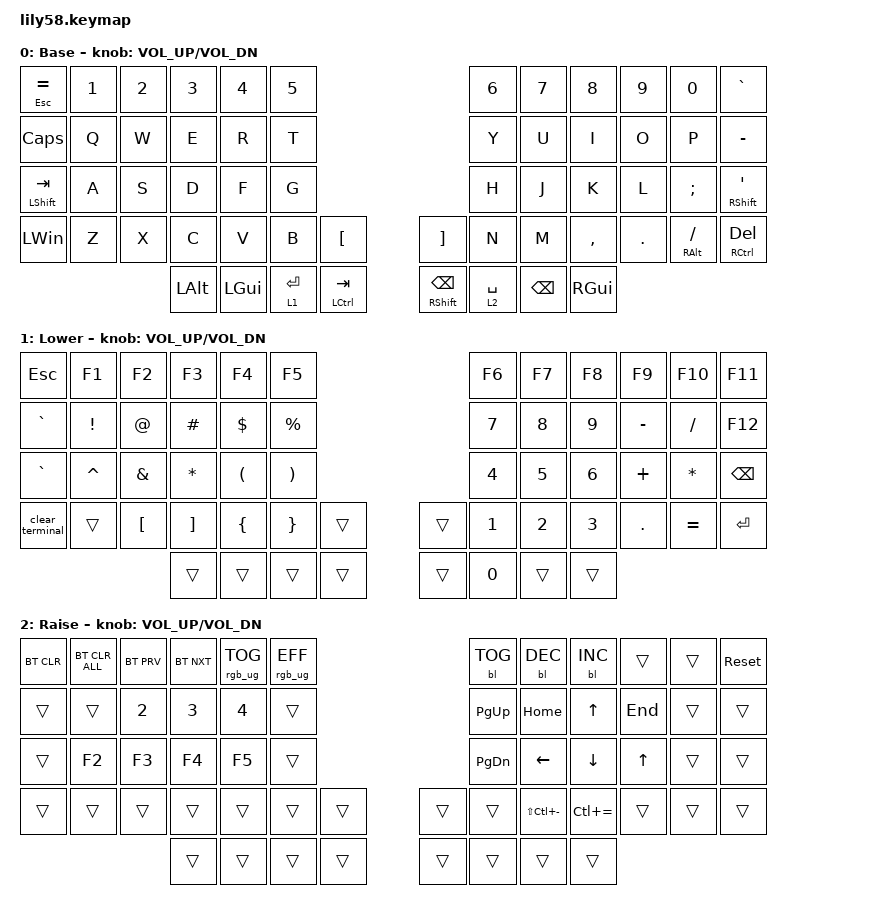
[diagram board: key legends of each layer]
/*
 * Copyright (c) 2020 The ZMK Contributors
 *
 * SPDX-License-Identifier: MIT
 */

#include <behaviors.dtsi>
#include <dt-bindings/zmk/backlight.h>
#include <dt-bindings/zmk/bt.h>
#include <dt-bindings/zmk/keys.h>
#include <dt-bindings/zmk/rgb.h>

/ {
    macros {
        clear_terminal: clear_terminal {
            compatible = "zmk,behavior-macro";
            #binding-cells = <0>;
            bindings = <&kp C &kp L &kp E &kp A &kp R &kp ENTER &kp ENTER>;
            label = "CLEAR_TERMINAL";
        };
    };

    keymap {
        compatible = "zmk,keymap";

        default_layer {
            // ------------------------------------------------------------------------------------------------------------
            // |  ESC  |  1  |  2  |  3   |  4   |  5   |                   |  6   |  7    |  8    |  9   |   0   |   `   |
            // |  TAB  |  Q  |  W  |  E   |  R   |  T   |                   |  Y   |  U    |  I    |  O   |   P   |   -   |
            // |  CTRL |  A  |  S  |  D   |  F   |  G   |                   |  H   |  J    |  K    |  L   |   ;   |   '   |
            // | SHIFT |  Z  |  X  |  C   |  V   |  B   |   "["  |  |  "]"  |  N   |  M    |  ,    |  .   |   /   | SHIFT |
            //                     | ALT  | GUI  | LOWER|  SPACE |  | ENTER | RAISE| BSPC  | GUI   |

            display-name = "Base";
            bindings = <
&mt ESC EQUAL       &kp N1  &kp N2  &kp N3    &kp N4    &kp N5                                                          &kp N6       &kp N7    &kp N8     &kp N9   &kp N0              &kp GRAVE
&kp CAPS            &kp Q   &kp W   &kp E     &kp R     &kp T                                                           &kp Y        &kp U     &kp I      &kp O    &kp P               &kp MINUS
&mt LEFT_SHIFT TAB  &kp A   &kp S   &kp D     &kp F     &kp G                                                           &kp H        &kp J     &kp K      &kp L    &kp SEMI            &mt RIGHT_SHIFT SQT
&kp LEFT_WIN        &kp Z   &kp X   &kp C     &kp V     &kp B        &kp LBKT                &kp RBKT                   &kp N        &kp M     &kp COMMA  &kp DOT  &mt RIGHT_ALT FSLH  &mt RCTRL DEL
                                    &kp LALT  &kp LGUI  &lt 1 ENTER  &mt LEFT_CONTROL TAB    &mt RIGHT_SHIFT BACKSPACE  &lt 2 SPACE  &kp BSPC  &kp RGUI
            >;

            sensor-bindings = <&inc_dec_kp C_VOL_UP C_VOL_DN>;
        };

        lower_layer {
            // ------------------------------------------------------------------------------------------------------------
            // | BTCLR | BT1 | BT2 |  BT3 |  BT4 |  BT5 |                   |      |       |       |      |       |       |
            // |  F1   |  F2 |  F3 |  F4  |  F5  |  F6  |                   |  F7  |  F8   |  F9   |  F10 |  F11  |  F12  |
            // |   `   |  !  |  @  |  #   |  $   |  %   |                   |  ^   |  &    |  *    |  (   |   )   |   ~   |
            // |       |     |     |      |      |      |        |  |       |      |  _    |  +    |  {   |   }   |  "|"  |
            //                     |      |      |      |        |  |       |      |       |       |

            display-name = "Lower";
            bindings = <
&kp ESC          &kp F1           &kp F2            &kp F3             &kp F4                &kp F5                                   &kp F6        &kp F7        &kp F8        &kp F9      &kp F10       &kp F11
&kp GRAVE        &kp EXCLAMATION  &kp AT_SIGN       &kp HASH           &kp DOLLAR            &kp PERCENT                              &kp N7        &kp N8        &kp N9        &kp MINUS   &kp SLASH     &kp F12
&kp GRAVE        &kp CARET        &kp AMPERSAND     &kp STAR           &kp LEFT_PARENTHESIS  &kp RIGHT_PARENTHESIS                    &kp NUMBER_4  &kp N5        &kp NUMBER_6  &kp PLUS    &kp ASTERISK  &kp BACKSPACE
&clear_terminal  &trans           &kp LEFT_BRACKET  &kp RIGHT_BRACKET  &kp LEFT_BRACE        &kp RIGHT_BRACE        &trans    &trans  &kp NUMBER_1  &kp NUMBER_2  &kp NUMBER_3  &kp PERIOD  &kp EQUAL     &kp ENTER
                                                    &trans             &trans                &trans                 &trans    &trans  &kp N0        &trans        &trans
            >;

            sensor-bindings = <&inc_dec_kp C_VOL_UP C_VOL_DN>;
        };

        raise_layer {
            // ------------------------------------------------------------------------------------------------------------
            // |       |     |     |      |      |      |                   |      |       |       |      |       |       |
            // |   `   |  1  |  2  |  3   |  4   |  5   |                   |  6   |   7   |   8   |  9   |   0   |       |
            // |   F1  |  F2 |  F3 |  F4  |  F5  |  F6  |                   |      |   <-  |   v   |  ^   |  ->   |       |
            // |   F7  |  F8 |  F9 |  F10 |  F11 |  F12 |        |  |       |  +   |   -   |   =   |  [   |   ]   |   \   |
            //                     |      |      |      |        |  |       |      |       |       |

            display-name = "Raise";
            bindings = <
&bt BT_CLR  &bt BT_CLR_ALL  &bt BT_PRV  &bt BT_NXT  &rgb_ug RGB_TOG  &rgb_ug RGB_EFF                    &bl BL_TOG     &bl BL_DEC         &bl BL_INC     &trans   &trans  &sys_reset
&trans      &trans          &kp N2      &kp N3      &kp N4           &trans                             &kp PAGE_UP    &kp HOME           &kp UP_ARROW   &kp END  &trans  &trans
&trans      &kp F2          &kp F3      &kp F4      &kp F5           &trans                             &kp PAGE_DOWN  &kp LEFT           &kp DOWN       &kp UP   &trans  &trans
&trans      &trans          &trans      &trans      &trans           &trans           &trans    &trans  &trans         &kp LS(LC(MINUS))  &kp LC(EQUAL)  &trans   &trans  &trans
                                        &trans      &trans           &trans           &trans    &trans  &trans         &trans             &trans
            >;

            sensor-bindings = <&inc_dec_kp C_VOL_UP C_VOL_DN>;
        };

        extra_1 { status = "reserved"; };

        extra_2 { status = "reserved"; };

        extra_3 { status = "reserved"; };
    };
};
